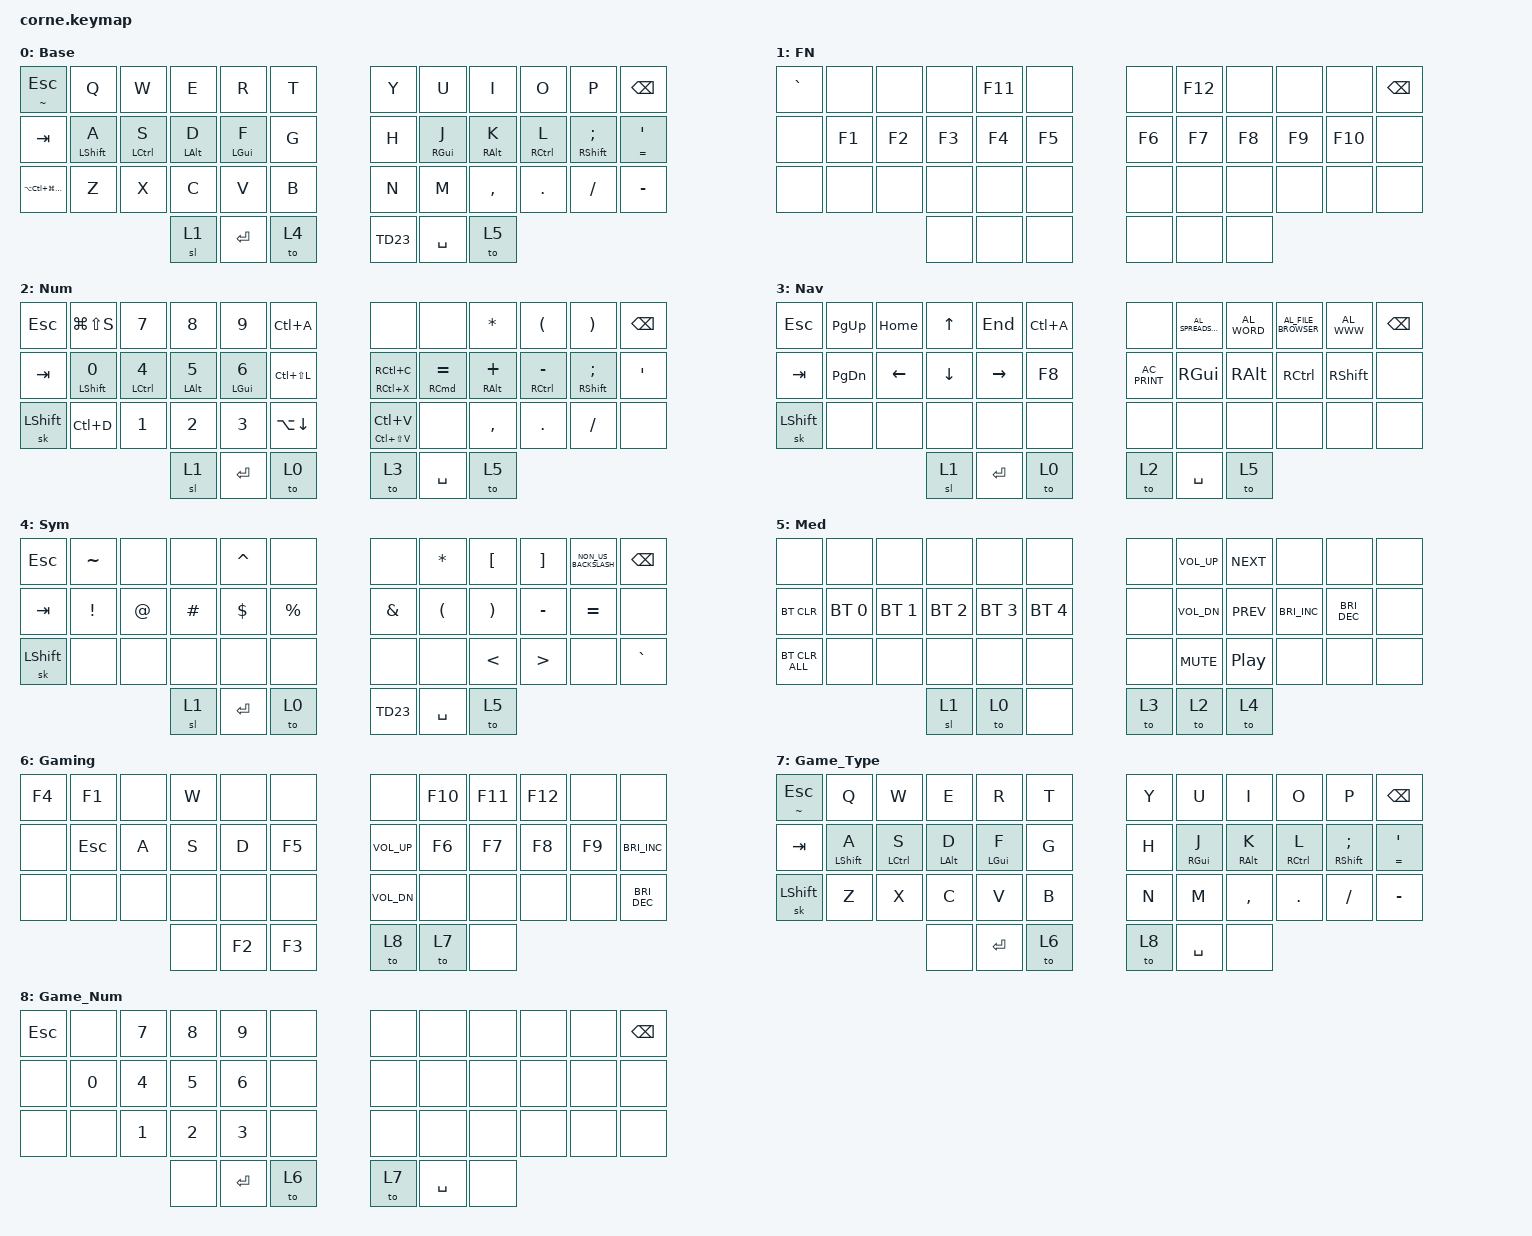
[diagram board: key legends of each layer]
/*
 * Copyright (c) 2020 The ZMK Contributors
 *
 * SPDX-License-Identifier: MIT
 */

#include <dt-bindings/zmk/mouse.h>
#include <behaviors.dtsi>
#include <dt-bindings/zmk/bt.h>
#include <dt-bindings/zmk/keys.h>

/ {
    behaviors {
        HMR: HMR {
            compatible = "zmk,behavior-hold-tap";
            label = "HMR";
            bindings = <&kp>, <&kp>;

            #binding-cells = <2>;
            tapping-term-ms = <280>;
            quick-tap-ms = <175>;
            flavor = "balanced";
            hold-trigger-on-release;
        };

        SCW: SCW {
            compatible = "zmk,behavior-tap-dance";
            label = "SCW";
            #binding-cells = <0>;
            bindings = <&sk LEFT_SHIFT>, <&caps_word>;

            tapping-term-ms = <250>;
        };

        TD23: TD23 {
            compatible = "zmk,behavior-tap-dance";
            label = "TD23";
            #binding-cells = <0>;
            bindings = <&to 2>, <&to 3>;

            tapping-term-ms = <230>;
        };
    };

    combos {
        compatible = "zmk,combos";

        Reset {
            bindings = <&sys_reset>;
            key-positions = <5 0 37 40 6 11>;
            layers = <5>;
        };

        Calc {
            bindings = <&kp C_AL_CALCULATOR>;
            key-positions = <12 23>;
        };

        Gamer {
            bindings = <&to 6>;
            key-positions = <0 24 11 35>;
            layers = <0>;
        };

        Revert {
            bindings = <&to 0>;
            key-positions = <0 24 11 35>;
            layers = <6 7 8>;
        };

        Delete {
            bindings = <&kp DELETE>;
            key-positions = <24 11>;
        };
    };

    keymap {
        compatible = "zmk,keymap";

        Base {
            display-name = "Base";

            // -----------------------------------------------------------------------------------------
            // |  TAB |  Q  |  W  |  E  |  R  |  T  |   |  Y  |  U   |  I  |  O  |  P  | BKSP |
            // | CTRL |  A  |  S  |  D  |  F  |  G  |   |  H  |  J   |  K  |  L  |  ;  |  '   |
            // | SHFT |  Z  |  X  |  C  |  V  |  B  |   |  N  |  M   |  ,  |  .  |  /  | ESC  |
            //                    | GUI | LWR | SPC |   | ENT | RSE  | ALT |

            bindings = <
&HMR TILDE ESC                  &kp Q         &kp W         &kp E        &kp R        &kp T    &kp Y  &kp U        &kp I        &kp O         &kp P                 &kp BSPC
&kp TAB                         &HMR LSHFT A  &HMR LCTRL S  &HMR LALT D  &HMR LGUI F  &kp G    &kp H  &HMR RGUI J  &HMR RALT K  &HMR RCTRL L  &HMR RSHFT SEMICOLON  &HMR EQUAL SQT
&kp LA(LC(LG(LS(LEFT_SHIFT))))  &kp Z         &kp X         &kp C        &kp V        &kp B    &kp N  &kp M        &kp COMMA    &kp DOT       &kp FSLH              &kp MINUS
                                                            &sl 1        &kp ENTER    &to 4    &TD23  &kp SPACE    &to 5
            >;
        };

        Function {
            bindings = <
&kp GRAVE  &none   &none   &none   &kp F11  &none     &none   &kp F12  &none   &none   &none    &kp BACKSPACE
&none      &kp F1  &kp F2  &kp F3  &kp F4   &kp F5    &kp F6  &kp F7   &kp F8  &kp F9  &kp F10  &none
&none      &none   &none   &none   &none    &none     &none   &none    &none   &none   &none    &none
                           &none   &none    &none     &none   &none    &none
            >;

            label = "FN";
        };

        Num_Pad {
            display-name = "Num";

            // -----------------------------------------------------------------------------------------
            // |  TAB |  1  |  2  |  3  |  4  |  5  |   |  6  |  7  |  8  |  9  |  0  | BKSP |
            // | BTCLR| BT1 | BT2 | BT3 | BT4 | BT5 |   | LFT | DWN |  UP | RGT |     |      |
            // | SHFT |     |     |     |     |     |   |     |     |     |     |     |      |
            //                    | GUI |     | SPC |   | ENT |     | ALT |

            bindings = <
&kp ESCAPE      &kp LG(LS(S))       &kp N7                      &kp N8            &kp N9                  &kp LC(A)        &none                 &none                     &kp ASTERISK         &kp LEFT_PARENTHESIS  &kp RIGHT_PARENTHESIS  &kp BACKSPACE
&kp TAB         &HMR LEFT_SHIFT N0  &HMR LEFT_CONTROL NUMBER_4  &HMR LEFT_ALT N5  &HMR LEFT_GUI NUMBER_6  &kp LC(LS(L))    &HMR RC(X) RC(C)      &HMR RIGHT_COMMAND EQUAL  &HMR RIGHT_ALT PLUS  &HMR RCTRL MINUS      &HMR RSHFT SEMICOLON   &kp SQT
&sk LEFT_SHIFT  &kp LC(D)           &kp N1                      &kp N2            &kp N3                  &kp LA(DOWN)     &HMR LC(LS(V)) LC(V)  &none                     &kp COMMA            &kp PERIOD            &kp SLASH              &none
                                                                &sl 1             &kp ENTER               &to 0            &to 3                 &kp SPACE                 &to 5
            >;
        };

        Navigation {
            display-name = "Nav";

            // -----------------------------------------------------------------------------------------
            // |  TAB |  !  |  @  |  #  |  $  |  %  |   |  ^  |  &  |  *  |  (  |  )  | BKSP |
            // | CTRL |     |     |     |     |     |   |  -  |  =  |  [  |  ]  |  \  |  `   |
            // | SHFT |     |     |     |     |     |   |  _  |  +  |  {  |  }  | "|" |  ~   |
            //                    | GUI |     | SPC |   | ENT |     | ALT |

            bindings = <
&kp ESCAPE      &kp PAGE_UP    &kp HOME  &kp UP    &kp END    &kp LC(A)    &none           &kp C_AL_SPREADSHEET  &kp C_AL_WORD  &kp C_AL_FILE_BROWSER  &kp C_AL_WWW     &kp BACKSPACE
&kp TAB         &kp PAGE_DOWN  &kp LEFT  &kp DOWN  &kp RIGHT  &kp F8       &kp C_AC_PRINT  &kp RIGHT_GUI         &kp RIGHT_ALT  &kp RCTRL              &kp RIGHT_SHIFT  &none
&sk LEFT_SHIFT  &none          &none     &none     &none      &none        &none           &none                 &none          &none                  &none            &none
                                         &sl 1     &kp ENTER  &to 0        &to 2           &kp SPACE             &to 5
            >;
        };

        Symbols {
            label = "Sym";
            bindings = <
&kp ESCAPE      &kp TILDE        &none        &none      &kp CARET   &none          &none          &kp ASTERISK          &kp LEFT_BRACKET       &kp RIGHT_BRACKET  &kp NON_US_BACKSLASH  &kp BACKSPACE
&kp TAB         &kp EXCLAMATION  &kp AT_SIGN  &kp POUND  &kp DOLLAR  &kp PERCENT    &kp AMPERSAND  &kp LEFT_PARENTHESIS  &kp RIGHT_PARENTHESIS  &kp MINUS          &kp EQUAL             &none
&sk LEFT_SHIFT  &none            &none        &none      &none       &none          &none          &none                 &kp LESS_THAN          &kp GREATER_THAN   &none                 &kp GRAVE
                                              &sl 1      &kp ENTER   &to 0          &TD23          &kp SPACE             &to 5
            >;
        };

        Media {
            bindings = <
&none           &none         &none         &none         &none         &none           &none  &kp C_VOL_UP  &kp C_NEXT  &none                 &none                 &none
&bt BT_CLR      &bt BT_SEL 0  &bt BT_SEL 1  &bt BT_SEL 2  &bt BT_SEL 3  &bt BT_SEL 4    &none  &kp C_VOL_DN  &kp C_PREV  &kp C_BRIGHTNESS_INC  &kp C_BRIGHTNESS_DEC  &none
&bt BT_CLR_ALL  &none         &none         &none         &none         &none           &none  &kp C_MUTE    &kp C_PP    &none                 &none                 &none
                                            &sl 1         &to 0         &none           &to 3  &to 2         &to 4
            >;

            label = "Med";
        };

        Gaming {
            bindings = <
&kp F4  &kp F1   &none  &kp W  &none   &none     &none            &kp F10  &kp F11  &kp F12  &none   &none
&none   &kp ESC  &kp A  &kp S  &kp D   &kp F5    &kp C_VOLUME_UP  &kp F6   &kp F7   &kp F8   &kp F9  &kp C_BRIGHTNESS_INC
&none   &none    &none  &none  &none   &none     &kp C_VOL_DN     &none    &none    &none    &none   &kp C_BRIGHTNESS_DEC
                        &none  &kp F2  &kp F3    &to 8            &to 7    &none
            >;
        };

        Gaming2 {
            display-name = "Game_Type";
            bindings = <
&HMR TILDE ESC  &kp Q         &kp W         &kp E        &kp R        &kp T    &kp Y  &kp U        &kp I        &kp O         &kp P                 &kp BSPC
&kp TAB         &HMR LSHFT A  &HMR LCTRL S  &HMR LALT D  &HMR LGUI F  &kp G    &kp H  &HMR RGUI J  &HMR RALT K  &HMR RCTRL L  &HMR RSHFT SEMICOLON  &HMR EQUAL SQT
&sk LEFT_SHIFT  &kp Z         &kp X         &kp C        &kp V        &kp B    &kp N  &kp M        &kp COMMA    &kp DOT       &kp FSLH              &kp MINUS
                                            &none        &kp ENTER    &to 6    &to 8  &kp SPACE    &none
            >;
        };

        Gaming3 {
            label = "Game_Num";
            bindings = <
&kp ESC  &none   &kp N7  &kp N8  &kp N9     &none    &none  &none      &none  &none  &none  &kp BSPC
&none    &kp N0  &kp N4  &kp N5  &kp N6     &none    &none  &none      &none  &none  &none  &none
&none    &none   &kp N1  &kp N2  &kp N3     &none    &none  &none      &none  &none  &none  &none
                         &none   &kp ENTER  &to 6    &to 7  &kp SPACE  &none
            >;
        };
    };
};
